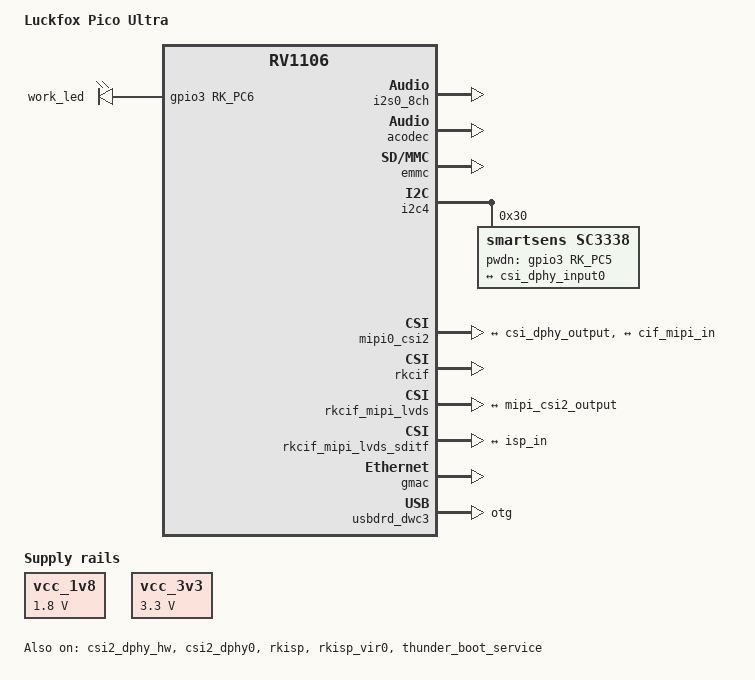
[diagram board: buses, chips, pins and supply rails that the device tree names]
// SPDX-License-Identifier: (GPL-2.0+ OR MIT)
/*
 * Copyright (c) 2024 Rockchip Electronics Co., Ltd.
 */

/dts-v1/;

//#include "rv1106-tb-nofastae-emmc.dtsi"
#include "rv1106.dtsi"
#include "rv1106-evb-v10.dtsi"
#include "rv1106-thunder-boot-emmc.dtsi"

/ {
	model = "Luckfox Pico Ultra";
	compatible = "rockchip,rv1106g-evb1-v11", "rockchip,rv1106";
	chosen {
		bootargs = "loglevel=0 rootfstype=erofs rootflags=dax console=ttyFIQ0 root=/dev/rd0 snd_soc_core.prealloc_buffer_size_kbytes=16 coherent_pool=0 driver_async_probe=dwmmc_rockchip";
	};

	vcc_1v8: vcc-1v8 {
		compatible = "regulator-fixed";
		regulator-name = "vcc_1v8";
		regulator-always-on;
		regulator-boot-on;
		regulator-min-microvolt = <1800000>;
		regulator-max-microvolt = <1800000>;
	};

	vcc_3v3: vcc-3v3 {
		compatible = "regulator-fixed";
		regulator-name = "vcc_3v3";
		regulator-always-on;
		regulator-boot-on;
		regulator-min-microvolt = <3300000>;
		regulator-max-microvolt = <3300000>;
	};

	leds: leds {
		compatible = "gpio-leds";
		work_led: work{
			gpios = <&gpio3 RK_PC6 GPIO_ACTIVE_HIGH>;
			linux,default-trigger = "activity";
			default-state = "on";
		};
	};
};

/***************************** audio ********************************/
&i2s0_8ch {
	#sound-dai-cells = <0>;
	status = "okay";
};

&acodec {
	#sound-dai-cells = <0>;
	pa-ctl-gpios = <&gpio3 RK_PD3 GPIO_ACTIVE_HIGH>;
	status = "okay";
};

/***************************** emmc *******************************/
&emmc {
	status = "okay";
};

/***************************** csi ********************************/
&csi2_dphy_hw {
	status = "okay";
};

&csi2_dphy0 {
	status = "okay";

	ports {
		#address-cells = <1>;
		#size-cells = <0>;

		port@0 {
			reg = <0>;
			#address-cells = <1>;
			#size-cells = <0>;

			csi_dphy_input0: endpoint@0 {
				reg = <0>;
				remote-endpoint = <&sc3338_out>;
				data-lanes = <1 2>;
			};
		};

		port@1 {
			reg = <1>;
			#address-cells = <1>;
			#size-cells = <0>;

			csi_dphy_output: endpoint@0 {
				reg = <0>;
				remote-endpoint = <&mipi_csi2_input>;
			};
		};
	};
};

&i2c4 {
	rockchip,amp-shared;

  status = "okay";
	pinctrl-0 = <&i2c4m2_xfer>;

	sc3338: sc3338@30 {
		compatible = "smartsens,sc3338";
		status = "okay";
		reg = <0x30>;
		clocks = <&cru MCLK_REF_MIPI0>;
		clock-names = "xvclk";
		pwdn-gpios = <&gpio3 RK_PC5 GPIO_ACTIVE_HIGH>;
		pinctrl-names = "default";
		pinctrl-0 = <&mipi_refclk_out0>;
		rockchip,camera-module-index = <0>;
		rockchip,camera-module-facing = "back";
		rockchip,camera-module-name = "FKO1";
		rockchip,camera-module-lens-name = "30IRC-F16";
		port {
			sc3338_out: endpoint {
				remote-endpoint = <&csi_dphy_input0>;
				data-lanes = <1 2>;
			};
		};
	};
};

&mipi0_csi2 {
	status = "okay";

	ports {
		#address-cells = <1>;
		#size-cells = <0>;

		port@0 {
			reg = <0>;
			#address-cells = <1>;
			#size-cells = <0>;

			mipi_csi2_input: endpoint@1 {
				reg = <1>;
				remote-endpoint = <&csi_dphy_output>;
			};
		};

		port@1 {
			reg = <1>;
			#address-cells = <1>;
			#size-cells = <0>;

			mipi_csi2_output: endpoint@0 {
				reg = <0>;
				remote-endpoint = <&cif_mipi_in>;
			};
		};
	};
};

&rkcif {
	status = "okay";
};

&rkcif_mipi_lvds {
	status = "okay";
	memory-region-thunderboot = <&rkisp_thunderboot>; //thunderboot

	pinctrl-names = "default";
	pinctrl-0 = <&mipi_pins>;
	port {
		/* MIPI CSI-2 endpoint */
		cif_mipi_in: endpoint {
			remote-endpoint = <&mipi_csi2_output>;
		};
	};
};

&rkcif_mipi_lvds_sditf {
	status = "okay";

	port {
		/* MIPI CSI-2 endpoint */
		mipi_lvds_sditf: endpoint {
			remote-endpoint = <&isp_in>;
		};
	};
};

&rkisp {
	status = "okay";
};

&rkisp_vir0 {
	status = "okay";

	port@0 {
		isp_in: endpoint {
			remote-endpoint = <&mipi_lvds_sditf>;
		};
	};
};


/***************************** ethernet ****************************/
&gmac {
	status = "okay";
};

/***************************** fiq ********************************/
&fiq_debugger {
	rockchip,baudrate = <115200>;
	pinctrl-names = "default";
	pinctrl-0 = <&uart2m1_xfer>;
};

/***************************** usb ********************************/
&usbdrd_dwc3 {
	extcon = <&u2phy>;
	//dr_mode = "peripheral";//for rndis
	dr_mode = "otg"; //for uvc
	status = "okay";
};

/***************************** other ******************************/
&mailbox {
	status = "okay";
};

/********************** thunder-boot ******************************/
&thunder_boot_service {
	status = "okay";
};

&rkisp_thunderboot {
	/* reg's offset MUST match with RTOS */
	/*
	 * vicap, capture raw10, ceil(w*10/8/256)*256*h *4(buf num)
	 * e.g. 2304x1296: 0xf30000
	 */
	reg = <0x00860000 0xf30000>;
};

&ramdisk_r {
	reg = <0x1790000 (40 * 0x00100000)>;
};

&ramdisk_c {
	reg = <0x3f90000 (20 * 0x00100000)>;
};
